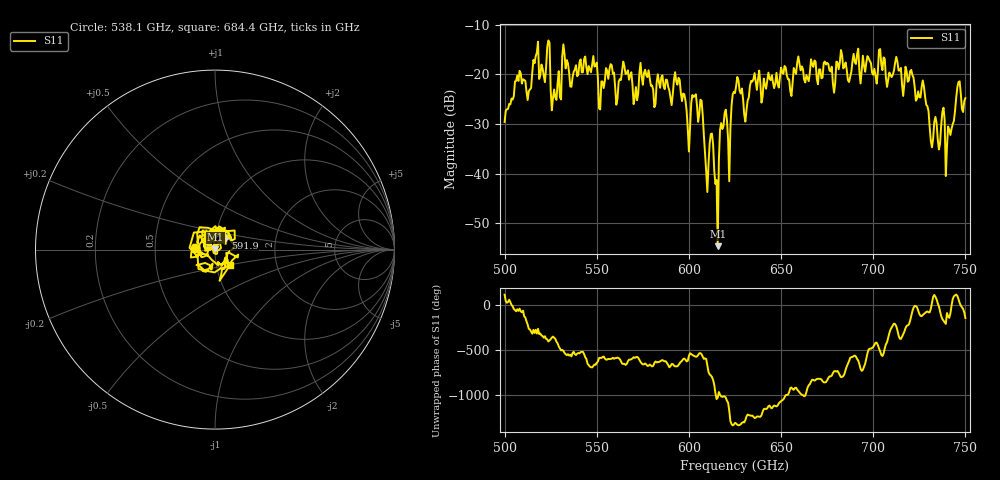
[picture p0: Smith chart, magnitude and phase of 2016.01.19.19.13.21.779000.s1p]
!Created with skrf (http://scikit-rf.org).
# GHz S RI R 50.0
!freq ReS11 ImS11
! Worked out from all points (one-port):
!   401 points, 500 GHz to 750 GHz, reference 50 ohm
!   lowest |S11| = -54.6 dB at 615.6 GHz (marker M1), VSWR 1.00, Z = 50.1 + j0.142 ohm
!   |S11| at or under -10 dB: start of sweep to end of sweep
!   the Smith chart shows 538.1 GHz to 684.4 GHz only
!   S11 on the Smith chart (normalised r, x): 538.1 GHz: 0.80, +0.02; 591.9 GHz: 1.12, +0.15; 684.4 GHz: 1.16, -0.20
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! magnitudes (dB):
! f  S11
! 500 GHz  -29.6
! 507.5 GHz  -21.3
! 513.1 GHz  -23.4
! 516.9 GHz  -16.3
! 523.8 GHz  -13.2
! 526.9 GHz  -23.0
! 531.2 GHz  -16.5
! 538.1 GHz  -19.0
! 562.5 GHz  -21.0
! 591.9 GHz  -21.1
! 593.8 GHz  -22.1
! 599.4 GHz  -31.0
! 602.5 GHz  -24.6
! 606.9 GHz  -25.4
! 609.4 GHz  -39.6
! 612.5 GHz  -31.9
! 615.6 GHz  -54.6
! 618.1 GHz  -31.0
! 621.9 GHz  -41.6
! 625 GHz  -23.8
! 630.6 GHz  -29.5
! 656.2 GHz  -21.8
! 684.4 GHz  -18.5
! 687.5 GHz  -20.5
! 718.8 GHz  -21.5
! 740.6 GHz  -30.5
! 746.2 GHz  -21.6
! 750 GHz  -24.8
